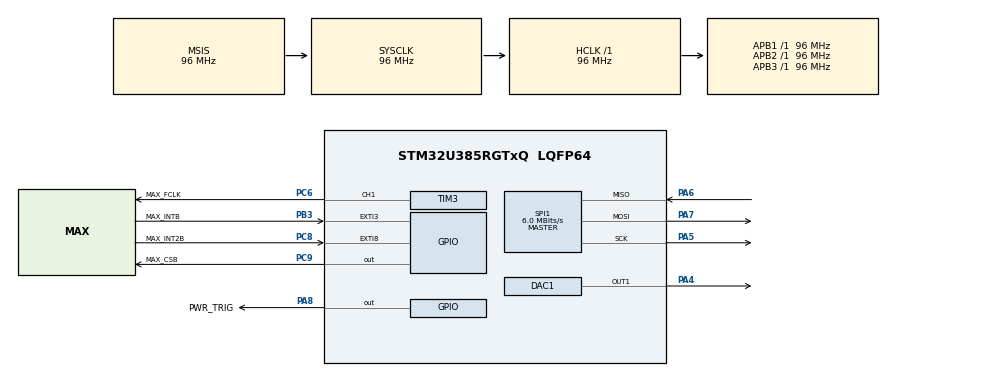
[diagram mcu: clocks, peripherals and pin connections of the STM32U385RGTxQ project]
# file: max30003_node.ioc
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CORTEX_M33_NS.userName=CORTEX_M33
DAC1.DAC_Channel-DAC_OUT1=DAC_CHANNEL_1
DAC1.DAC_OutputBuffer_OUT1-DAC_OUT1=DAC_OUTPUTBUFFER_ENABLE
Mcu.Family=STM32U3
Mcu.Name=STM32U385RGTxQ
Mcu.Package=LQFP64
NUCLEO-U385RG-Q.BUTTON=1
NUCLEO-U385RG-Q.Bsp_Common_DEMO=true
NUCLEO-U385RG-Q.LD2=false
NUCLEO-U385RG-Q.VCP=true
NVIC.EXTI13_IRQn=true\:0\:0\:false\:false\:true\:false\:true\:true
NVIC.EXTI3_IRQn=true\:2\:0\:false\:false\:true\:true\:true\:true
NVIC.EXTI8_IRQn=true\:2\:0\:false\:false\:true\:true\:true\:true
NVIC.PriorityGroup=NVIC_PRIORITYGROUP_4
NVIC.TIM6_IRQn=true\:1\:0\:true\:false\:true\:true\:true\:true
PA10.Signal=USART1_RX
PA13\ (JTMS/SWDIO).GPIO_Label=DEBUG_JTMS-SWDIO
PA13\ (JTMS/SWDIO).Signal=DEBUG_JTMS-SWDIO
PA14\ (JTCK/SWCLK).GPIO_Label=DEBUG_JTCK-SWCLK
PA14\ (JTCK/SWCLK).Signal=DEBUG_JTCK-SWCLK
PA4.Signal=COMP_DAC11_group
PA5.GPIO_Speed=GPIO_SPEED_FREQ_MEDIUM
PA5.Mode=Full_Duplex_Master
PA5.Signal=SPI1_SCK
PA6.GPIO_Speed=GPIO_SPEED_FREQ_MEDIUM
PA6.Mode=Full_Duplex_Master
PA6.Signal=SPI1_MISO
PA7.GPIO_Speed=GPIO_SPEED_FREQ_MEDIUM
PA7.Mode=Full_Duplex_Master
PA7.Signal=SPI1_MOSI
PA8.GPIO_Label=PWR_TRIG
PA8.Signal=GPIO_Output
PA9.Signal=USART1_TX
PB3\ (JTDO/TRACESWO).GPIO_Label=MAX_INTB
PB3\ (JTDO/TRACESWO).GPIO_ModeDefaultEXTI=GPIO_MODE_IT_FALLING
PB3\ (JTDO/TRACESWO).GPIO_PuPd=GPIO_PULLUP
PB3\ (JTDO/TRACESWO).Signal=GPXTI3
PC14-OSC32_IN\ (PC14).GPIO_Label=RCC_OSC32_IN
PC14-OSC32_IN\ (PC14).Signal=RCC_OSC32_IN
PC15-OSC32_OUT\ (PC15).GPIO_Label=RCC_OSC32_OUT
PC15-OSC32_OUT\ (PC15).Signal=RCC_OSC32_OUT
PC6.GPIO_Label=MAX_FCLK
PC6.Signal=S_TIM3_CH1
PC8.GPIO_Label=MAX_INT2B
PC8.GPIO_ModeDefaultEXTI=GPIO_MODE_IT_FALLING
PC8.GPIO_PuPd=GPIO_PULLUP
PC8.Signal=GPXTI8
PC9.GPIO_Label=MAX_CSB
PC9.PinState=GPIO_PIN_SET
PC9.Signal=GPIO_Output
ProjectManager.HeapSize=0x200
ProjectManager.StackSize=0x400
ProjectManager.TargetToolchain=CMake
RCC.ADCFreq_Value=96000000
RCC.AHBFreq_Value=96000000
RCC.APB1Freq_Value=96000000
RCC.APB1TimFreq_Value=96000000
RCC.APB2Freq_Value=96000000
RCC.APB2TimFreq_Value=96000000
RCC.APB3Freq_Value=96000000
RCC.CortexFreq_Value=12000000
RCC.HCLKFreq_Value=96000000
RCC.HSE_VALUE=16000000
RCC.HSI48_VALUE=48000000
RCC.HSI_VALUE=16000000
RCC.LSE_VALUE=32768
RCC.LSIDIV_VALUE=32000
RCC.MSISDIV=RCC_MSI_DIV1
RCC.SYSCLKFreq_VALUE=96000000
RCC.USBFreq_Value=48000000
RCC.USB_DIV=RCC_USB1CLKSOURCE_ICLK_DIV2
SH.COMP_DAC11_group.0=DAC1_OUT1,DAC_OUT1
SH.S_TIM3_CH1.0=TIM3_CH1,PWM Generation1 CH1
SPI1.BaudRatePrescaler=SPI_BAUDRATEPRESCALER_16
SPI1.CalculateBaudRate=6.0 MBits/s
SPI1.DataSize=SPI_DATASIZE_8BIT
SPI1.Direction=SPI_DIRECTION_2LINES
SPI1.MasterKeepIOState=SPI_MASTER_KEEP_IO_STATE_ENABLE
SPI1.Mode=SPI_MODE_MASTER
SPI1.NSSPMode=SPI_NSS_PULSE_DISABLE
SPI1.VirtualType=VM_MASTER
TIM3.Channel-PWM\ Generation1\ CH1=TIM_CHANNEL_1
TIM3.PeriodNoDither=2929
TIM3.Prescaler=0
TIM3.PulseNoDither_1=1465
TIM6.AutoReloadPreload=TIM_AUTORELOAD_PRELOAD_ENABLE
TIM6.PeriodNoDither=999
TIM6.Prescaler=95
VP_CORTEX_M33_NS_VS_Hclk.Mode=Hclk_Mode
VP_ICACHE_VS_ICACHE.Mode=DirectMappedCache
VP_MEMORYMAP_VS_MEMORYMAP.Mode=CurAppReg
VP_NUCLEO-U385RG-Q_VS_BSP_COMMON.Mode=COMMON
VP_PWR_VS_DBSignals.Mode=DisableDeadBatterySignals
VP_PWR_VS_LPOM.Mode=PowerOptimisation
VP_PWR_VS_SECSignals.Mode=Security/Privilege
VP_TIM3_VS_ClockSourceINT.Mode=Internal
VP_TIM6_VS_ClockSourceINT.Mode=Enable_Timer
board=NUCLEO-U385RG-Q

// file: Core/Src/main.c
/* USER CODE BEGIN Header */
/**
  ******************************************************************************
  * @file           : main.c
  * @brief          : Main program body
  ******************************************************************************
  * @attention
  *
  * Copyright (c) 2026 STMicroelectronics.
  * All rights reserved.
  *
  * This software is licensed under terms that can be found in the LICENSE file
  * in the root directory of this software component.
  * If no LICENSE file comes with this software, it is provided AS-IS.
  *
  ******************************************************************************
  */
/* USER CODE END Header */
#include "main.h"

/* USER CODE BEGIN Includes */
#include "ecg_acq.h"
#include "ecg_sim.h"
#include "rdetect.h"
#include "uart_tx.h"
#include "ecg_stream.h"
/* USER CODE END Includes */

/* USER CODE BEGIN PD */
#if ECG_ACQ_FS_HZ != RDETECT_FS_HZ
#error "MAX30003 sample rate (max30003_config.h) and RDETECT_FS_HZ (rdetect_config.h) differ"
#endif
#if ECG_ACQ_BLOCK_SAMPLES > RDETECT_MAX_SAMPLES
#error "ECG_ACQ_BLOCK_SECONDS is longer than rdetect accepts (RDETECT_MAX_SAMPLES)"
#endif
/* USER CODE END PD */

COM_InitTypeDef BspCOMInit;
__IO uint32_t BspButtonState = BUTTON_RELEASED;

DAC_HandleTypeDef hdac1;

SPI_HandleTypeDef hspi1;

TIM_HandleTypeDef htim3;
TIM_HandleTypeDef htim6;

/* USER CODE BEGIN PV */
static uint32_t peaks[RDETECT_MAX_PEAKS];
/* USER CODE END PV */

void SystemClock_Config(void);
static void MX_GPIO_Init(void);
static void MX_ICACHE_Init(void);
static void MX_SPI1_Init(void);
static void MX_TIM3_Init(void);
static void MX_DAC1_Init(void);
static void MX_TIM6_Init(void);
/* USER CODE BEGIN PFP */
static void pulse_trigger(void);
static int start_acquisition(void);
/* USER CODE END PFP */

/* USER CODE BEGIN 0 */

/* 5 ms pulse on D7 to start a power measurement (X-NUCLEO-LPM01A trigger). */
static void pulse_trigger(void)
{
  HAL_GPIO_WritePin(PWR_TRIG_GPIO_Port, PWR_TRIG_Pin, GPIO_PIN_SET);
  HAL_Delay(5);
  HAL_GPIO_WritePin(PWR_TRIG_GPIO_Port, PWR_TRIG_Pin, GPIO_PIN_RESET);
}

/* Configure the MAX30003 and start acquisition; prints the outcome. */
static int start_acquisition(void)
{
  int e = ecg_acq_init(&hspi1);

  switch (e)
  {
  case MAX30003_OK:
    printf("MAX30003 ready (INFO 0x%06lx)\r\n", (unsigned long)max30003_info());
    break;
  case MAX30003_ERR_PLL:
    printf("MAX30003 PLL not locked: check FCLK on D9 (PC6). Running anyway.\r\n");
    break;
  case MAX30003_ERR_ID:
    printf("MAX30003 not found (INFO 0x%06lx): check board, 3V3 and SPI wiring. Press USER to retry.\r\n",
           (unsigned long)max30003_info());
    break;
  default:
    printf("MAX30003 SPI error %d. Press USER to retry.\r\n", e);
    break;
  }
  ecg_stream_reset();
  return e;
}

/* USER CODE END 0 */

int main(void)
{

  /* USER CODE BEGIN 1 */
  int err;
  /* USER CODE END 1 */

  /* MCU Configuration--------------------------------------------------------*/

  /* Reset of all peripherals, Initializes the Flash interface and the Systick. */
  HAL_Init();

  /* Configure the system clock */
  SystemClock_Config();

  /* Initialize all configured peripherals */
  MX_GPIO_Init();
  MX_ICACHE_Init();
  MX_SPI1_Init();
  MX_TIM3_Init();
  MX_DAC1_Init();
  MX_TIM6_Init();
  /* USER CODE BEGIN 2 */
  /* FCLK for the MAX30003 must run before it is configured. */
  if (HAL_TIM_PWM_Start(&htim3, TIM_CHANNEL_1) != HAL_OK)
  {
    Error_Handler();
  }
  rdetect_init();
  /* USER CODE END 2 */

  /* Initialize USER push-button, will be used to trigger an interrupt each time it's pressed.*/
  BSP_PB_Init(BUTTON_USER, BUTTON_MODE_EXTI);

  /* Initialize COM1 port (115200, 8 bits (7-bit data + 1 stop bit), no parity */
  BspCOMInit.BaudRate   = 115200;
  BspCOMInit.WordLength = COM_WORDLENGTH_8B;
  BspCOMInit.StopBits   = COM_STOPBITS_1;
  BspCOMInit.Parity     = COM_PARITY_NONE;
  BspCOMInit.HwFlowCtl  = COM_HWCONTROL_NONE;
  if (BSP_COM_Init(COM1, &BspCOMInit) != BSP_ERROR_NONE)
  {
    Error_Handler();
  }

  /* USER CODE BEGIN BSP */
  /* From here on printf only queues bytes; USART1's interrupt sends them. */
  uart_tx_init();
  printf("\r\nmax30003_node: %u sps, %u s blocks\r\n", (unsigned)ECG_ACQ_FS_HZ, (unsigned)ECG_ACQ_BLOCK_SECONDS);
  printf("ECG stream: ecg:<uV>,hr:<bpm>,r:<0|1> per sample, %lu.%lu s behind\r\n",
         (unsigned long)(ECG_STREAM_DELAY_SAMPLES / ECG_ACQ_FS_HZ),
         (unsigned long)(ECG_STREAM_DELAY_SAMPLES % ECG_ACQ_FS_HZ * 10u / ECG_ACQ_FS_HZ));
  err = start_acquisition();
#if ECG_SIM_ENABLE
  /* Test signal on PA4 (A2 -> ASIG). Needs JP1 on ASIG and JP2 on 0V9. */
  if (ecg_sim_start(&hdac1, &htim6, ECG_SIM_BPM) == 0)
  {
    printf("ECG sim on PA4: %lu bpm, R %lu uV on %lu mV\r\n", (unsigned long)ecg_sim_bpm(),
           (unsigned long)ECG_SIM_R_UV, (unsigned long)ECG_SIM_BASELINE_MV);
  }
  else
  {
    printf("ECG sim failed to start\r\n");
  }
#endif
  pulse_trigger();
  /* USER CODE END BSP */

  /* Infinite loop */
  /* USER CODE BEGIN WHILE */
  while (1)
  {
    const int32_t *ecg;
    uint32_t first, errors;
    int n = ecg_acq_poll(&ecg, &first);

    if (n > 0)
    {
      int count = rdetect_detect(ecg, (size_t)n, peaks, RDETECT_MAX_PEAKS);
      /* Copied into the playback ring before the buffer goes back to ecg_acq.
         A failed detection still streams the ECG, without peaks. */
      ecg_stream_block(first, ecg, n, peaks, count >= 0 ? count : 0);
      ecg_acq_release();
      if (count < 0)
      {
        printf("block %lu: rdetect error %d\r\n", (unsigned long)(first / ECG_ACQ_BLOCK_SAMPLES), count);
      }
    }

    ecg_stream_pump(ecg_acq_count());

    errors = ecg_acq_take_errors();
    if (errors != 0u)
    {
      printf("ecg_acq error 0x%lx%s%s%s\r\n", (unsigned long)errors,
             (errors & ECG_ACQ_ERR_SPI)      ? " spi" : "",
             (errors & ECG_ACQ_ERR_OVERFLOW) ? " fifo-overflow" : "",
             (errors & ECG_ACQ_ERR_OVERRUN)  ? " block-overrun" : "");
    }

    if (BspButtonState == BUTTON_PRESSED)
    {
      BspButtonState = BUTTON_RELEASED;
      /* Start over at sample 0 and trigger the power monitor, as in ecg_node.
         If the MAX30003 was not found at start-up, try to configure it again. */
      if (err == MAX30003_OK || err == MAX30003_ERR_PLL)
      {
        ecg_acq_restart();
        ecg_stream_reset();
        printf("Button pressed, acquisition restarted\r\n");
#if ECG_SIM_ENABLE
        {
          /* Step the simulated heart rate so the detector is tested at several rates. */
          static const uint32_t rates[] = { 60u, 75u, 90u, 120u, 45u };
          static unsigned r = 0;
          r = (r + 1u) % (sizeof rates / sizeof rates[0]);
          (void)ecg_sim_set_bpm(rates[r]);
          printf("ECG sim: %lu bpm\r\n", (unsigned long)ecg_sim_bpm());
        }
#endif
      }
      else
      {
        err = start_acquisition();
      }
      pulse_trigger();
    }
    ecg_acq_sleep();
    /* USER CODE END WHILE */

  }
}

void SystemClock_Config(void)
{
  RCC_OscInitTypeDef RCC_OscInitStruct = {0};
  RCC_ClkInitTypeDef RCC_ClkInitStruct = {0};

  /** Configure the System Power Supply
  */
  if (HAL_PWREx_ConfigSupply(PWR_SMPS_SUPPLY) != HAL_OK)
  {
    Error_Handler();
  }

  /** Enable Epod Booster
  */
  if (HAL_RCCEx_EpodBoosterClkConfig(RCC_EPODBOOSTER_SOURCE_MSIS, RCC_EPODBOOSTER_DIV1) != HAL_OK)
  {
    Error_Handler();
  }
  if (HAL_PWREx_EnableEpodBooster() != HAL_OK)
  {
    Error_Handler();
  }

  /** Configure the main internal regulator output voltage
  */
  if (HAL_PWREx_ControlVoltageScaling(PWR_REGULATOR_VOLTAGE_SCALE1) != HAL_OK)
  {
    Error_Handler();
  }

  /** Set Flash latency before increasing MSIS
  */
  __HAL_FLASH_SET_LATENCY(FLASH_LATENCY_2);

  /** Initializes the CPU, AHB and APB buses clocks
  */
  RCC_OscInitStruct.OscillatorType = RCC_OSCILLATORTYPE_LSI|RCC_OSCILLATORTYPE_MSIS;
  RCC_OscInitStruct.LSIState = RCC_LSI_ON;
  RCC_OscInitStruct.LSIDiv = RCC_LSI_DIV1;
  RCC_OscInitStruct.MSISState = RCC_MSI_ON;
  RCC_OscInitStruct.MSISSource = RCC_MSI_RC0;
  RCC_OscInitStruct.MSISDiv = RCC_MSI_DIV1;
  if (HAL_RCC_OscConfig(&RCC_OscInitStruct) != HAL_OK)
  {
    Error_Handler();
  }

  /** Initializes the CPU, AHB and APB buses clocks
  */
  RCC_ClkInitStruct.ClockType = RCC_CLOCKTYPE_HCLK|RCC_CLOCKTYPE_SYSCLK
                              |RCC_CLOCKTYPE_PCLK1|RCC_CLOCKTYPE_PCLK2
                              |RCC_CLOCKTYPE_PCLK3;
  RCC_ClkInitStruct.SYSCLKSource = RCC_SYSCLKSOURCE_MSIS;
  RCC_ClkInitStruct.AHBCLKDivider = RCC_SYSCLK_DIV1;
  RCC_ClkInitStruct.APB1CLKDivider = RCC_HCLK_DIV1;
  RCC_ClkInitStruct.APB2CLKDivider = RCC_HCLK_DIV1;
  RCC_ClkInitStruct.APB3CLKDivider = RCC_HCLK_DIV1;

  if (HAL_RCC_ClockConfig(&RCC_ClkInitStruct, FLASH_LATENCY_2) != HAL_OK)
  {
    Error_Handler();
  }
}

static void MX_DAC1_Init(void)
{

  DAC_ChannelConfTypeDef sConfig = {0};
  DAC_AutonomousModeConfTypeDef sAutonomousMode = {0};

  /** DAC Initialization
  */
  hdac1.Instance = DAC1;
  if (HAL_DAC_Init(&hdac1) != HAL_OK)
  {
    Error_Handler();
  }

  /** DAC channel OUT1 config
  */
  sConfig.DAC_HighFrequency = DAC_HIGH_FREQUENCY_INTERFACE_MODE_DISABLE;
  sConfig.DAC_DMADoubleDataMode = DISABLE;
  sConfig.DAC_SignedFormat = DISABLE;
  sConfig.DAC_SampleAndHold = DAC_SAMPLEANDHOLD_DISABLE;
  sConfig.DAC_Trigger = DAC_TRIGGER_NONE;
  sConfig.DAC_OutputBuffer = DAC_OUTPUTBUFFER_ENABLE;
  sConfig.DAC_ConnectOnChipPeripheral = DAC_CHIPCONNECT_EXTERNAL;
  sConfig.DAC_UserTrimming = DAC_TRIMMING_FACTORY;
  if (HAL_DAC_ConfigChannel(&hdac1, &sConfig, DAC_CHANNEL_1) != HAL_OK)
  {
    Error_Handler();
  }

  /** Configure Autonomous Mode
  */
  sAutonomousMode.AutonomousModeState = DAC_AUTONOMOUS_MODE_DISABLE;
  if (HAL_DACEx_SetConfigAutonomousMode(&hdac1, &sAutonomousMode) != HAL_OK)
  {
    Error_Handler();
  }

}

static void MX_ICACHE_Init(void)
{

  /** Enable instruction cache in 1-way (direct mapped cache)
  */
  if (HAL_ICACHE_ConfigAssociativityMode(ICACHE_1WAY) != HAL_OK)
  {
    Error_Handler();
  }
  if (HAL_ICACHE_Enable() != HAL_OK)
  {
    Error_Handler();
  }

}

static void MX_SPI1_Init(void)
{

  SPI_AutonomousModeConfTypeDef HAL_SPI_AutonomousMode_Cfg_Struct = {0};

  /* USER CODE BEGIN SPI1_Init 1 */
  /* Master, mode 0, 8-bit, 96 MHz / 16 = 6 MHz (MAX30003: <= 12 MHz).
     KeepIOState holds SCLK low between HAL calls while CSB stays low. */
  /* USER CODE END SPI1_Init 1 */
  /* SPI1 parameter configuration*/
  hspi1.Instance = SPI1;
  hspi1.Init.Mode = SPI_MODE_MASTER;
  hspi1.Init.Direction = SPI_DIRECTION_2LINES;
  hspi1.Init.DataSize = SPI_DATASIZE_8BIT;
  hspi1.Init.CLKPolarity = SPI_POLARITY_LOW;
  hspi1.Init.CLKPhase = SPI_PHASE_1EDGE;
  hspi1.Init.NSS = SPI_NSS_SOFT;
  hspi1.Init.BaudRatePrescaler = SPI_BAUDRATEPRESCALER_16;
  hspi1.Init.FirstBit = SPI_FIRSTBIT_MSB;
  hspi1.Init.TIMode = SPI_TIMODE_DISABLE;
  hspi1.Init.CRCCalculation = SPI_CRCCALCULATION_DISABLE;
  hspi1.Init.CRCPolynomial = 0x7;
  hspi1.Init.NSSPMode = SPI_NSS_PULSE_DISABLE;
  hspi1.Init.NSSPolarity = SPI_NSS_POLARITY_LOW;
  hspi1.Init.FifoThreshold = SPI_FIFO_THRESHOLD_01DATA;
  hspi1.Init.MasterSSIdleness = SPI_MASTER_SS_IDLENESS_00CYCLE;
  hspi1.Init.MasterInterDataIdleness = SPI_MASTER_INTERDATA_IDLENESS_00CYCLE;
  hspi1.Init.MasterReceiverAutoSusp = SPI_MASTER_RX_AUTOSUSP_DISABLE;
  hspi1.Init.MasterKeepIOState = SPI_MASTER_KEEP_IO_STATE_ENABLE;
  hspi1.Init.IOSwap = SPI_IO_SWAP_DISABLE;
  hspi1.Init.ReadyMasterManagement = SPI_RDY_MASTER_MANAGEMENT_INTERNALLY;
  hspi1.Init.ReadyPolarity = SPI_RDY_POLARITY_HIGH;
  if (HAL_SPI_Init(&hspi1) != HAL_OK)
  {
    Error_Handler();
  }
  HAL_SPI_AutonomousMode_Cfg_Struct.TriggerState = SPI_AUTO_MODE_DISABLE;
  HAL_SPI_AutonomousMode_Cfg_Struct.TriggerSelection = SPI_GRP1_GPDMA_CH0_TCF_TRG;
  HAL_SPI_AutonomousMode_Cfg_Struct.TriggerPolarity = SPI_TRIG_POLARITY_RISING;
  if (HAL_SPIEx_SetConfigAutonomousMode(&hspi1, &HAL_SPI_AutonomousMode_Cfg_Struct) != HAL_OK)
  {
    Error_Handler();
  }

}

static void MX_TIM3_Init(void)
{

  TIM_ClockConfigTypeDef sClockSourceConfig = {0};
  TIM_MasterConfigTypeDef sMasterConfig = {0};
  TIM_OC_InitTypeDef sConfigOC = {0};

  /* USER CODE BEGIN TIM3_Init 1 */
  /* 96 MHz / (2929 + 1) = 32.7645 kHz on CH1 (PC6, D9) = MAX30003 FCLK (-107 ppm). */
  /* USER CODE END TIM3_Init 1 */
  htim3.Instance = TIM3;
  htim3.Init.Prescaler = 0;
  htim3.Init.CounterMode = TIM_COUNTERMODE_UP;
  htim3.Init.Period = 2929;
  htim3.Init.ClockDivision = TIM_CLOCKDIVISION_DIV1;
  htim3.Init.AutoReloadPreload = TIM_AUTORELOAD_PRELOAD_DISABLE;
  if (HAL_TIM_Base_Init(&htim3) != HAL_OK)
  {
    Error_Handler();
  }
  sClockSourceConfig.ClockSource = TIM_CLOCKSOURCE_INTERNAL;
  if (HAL_TIM_ConfigClockSource(&htim3, &sClockSourceConfig) != HAL_OK)
  {
    Error_Handler();
  }
  if (HAL_TIM_PWM_Init(&htim3) != HAL_OK)
  {
    Error_Handler();
  }
  sMasterConfig.MasterOutputTrigger = TIM_TRGO_RESET;
  sMasterConfig.MasterSlaveMode = TIM_MASTERSLAVEMODE_DISABLE;
  if (HAL_TIMEx_MasterConfigSynchronization(&htim3, &sMasterConfig) != HAL_OK)
  {
    Error_Handler();
  }
  sConfigOC.OCMode = TIM_OCMODE_PWM1;
  sConfigOC.Pulse = 1465;
  sConfigOC.OCPolarity = TIM_OCPOLARITY_HIGH;
  sConfigOC.OCFastMode = TIM_OCFAST_DISABLE;
  if (HAL_TIM_PWM_ConfigChannel(&htim3, &sConfigOC, TIM_CHANNEL_1) != HAL_OK)
  {
    Error_Handler();
  }
  HAL_TIM_MspPostInit(&htim3);

}

static void MX_TIM6_Init(void)
{

  TIM_MasterConfigTypeDef sMasterConfig = {0};

  htim6.Instance = TIM6;
  htim6.Init.Prescaler = 95;
  htim6.Init.CounterMode = TIM_COUNTERMODE_UP;
  htim6.Init.Period = 999;
  htim6.Init.AutoReloadPreload = TIM_AUTORELOAD_PRELOAD_ENABLE;
  if (HAL_TIM_Base_Init(&htim6) != HAL_OK)
  {
    Error_Handler();
  }
  sMasterConfig.MasterOutputTrigger = TIM_TRGO_RESET;
  sMasterConfig.MasterSlaveMode = TIM_MASTERSLAVEMODE_DISABLE;
  if (HAL_TIMEx_MasterConfigSynchronization(&htim6, &sMasterConfig) != HAL_OK)
  {
    Error_Handler();
  }

}

static void MX_GPIO_Init(void)
{
  GPIO_InitTypeDef GPIO_InitStruct = {0};

  /* GPIO Ports Clock Enable */
  __HAL_RCC_GPIOA_CLK_ENABLE();
  __HAL_RCC_GPIOC_CLK_ENABLE();
  __HAL_RCC_GPIOB_CLK_ENABLE();

  /*Configure GPIO pin Output Level */
  HAL_GPIO_WritePin(MAX_CSB_GPIO_Port, MAX_CSB_Pin, GPIO_PIN_SET);

  /*Configure GPIO pin Output Level */
  HAL_GPIO_WritePin(PWR_TRIG_GPIO_Port, PWR_TRIG_Pin, GPIO_PIN_RESET);

  /*Configure GPIO pin : MAX_INT2B_Pin */
  GPIO_InitStruct.Pin = MAX_INT2B_Pin;
  GPIO_InitStruct.Mode = GPIO_MODE_IT_FALLING;
  GPIO_InitStruct.Pull = GPIO_PULLUP;
  HAL_GPIO_Init(MAX_INT2B_GPIO_Port, &GPIO_InitStruct);

  /*Configure GPIO pin : MAX_CSB_Pin */
  GPIO_InitStruct.Pin = MAX_CSB_Pin;
  GPIO_InitStruct.Mode = GPIO_MODE_OUTPUT_PP;
  GPIO_InitStruct.Pull = GPIO_NOPULL;
  GPIO_InitStruct.Speed = GPIO_SPEED_FREQ_LOW;
  HAL_GPIO_Init(MAX_CSB_GPIO_Port, &GPIO_InitStruct);

  /*Configure GPIO pin : PWR_TRIG_Pin */
  GPIO_InitStruct.Pin = PWR_TRIG_Pin;
  GPIO_InitStruct.Mode = GPIO_MODE_OUTPUT_PP;
  GPIO_InitStruct.Pull = GPIO_NOPULL;
  GPIO_InitStruct.Speed = GPIO_SPEED_FREQ_LOW;
  HAL_GPIO_Init(PWR_TRIG_GPIO_Port, &GPIO_InitStruct);

  /*Configure GPIO pin : DEBUG_JTMS_SWDIO_Pin */
  GPIO_InitStruct.Pin = DEBUG_JTMS_SWDIO_Pin;
  GPIO_InitStruct.Mode = GPIO_MODE_AF_PP;
  GPIO_InitStruct.Pull = GPIO_PULLUP;
  GPIO_InitStruct.Speed = GPIO_SPEED_FREQ_LOW;
  GPIO_InitStruct.Alternate = GPIO_AF0_TRACE;
  HAL_GPIO_Init(DEBUG_JTMS_SWDIO_GPIO_Port, &GPIO_InitStruct);

  /*Configure GPIO pin : MAX_INTB_Pin */
  GPIO_InitStruct.Pin = MAX_INTB_Pin;
  GPIO_InitStruct.Mode = GPIO_MODE_IT_FALLING;
  GPIO_InitStruct.Pull = GPIO_PULLUP;
  HAL_GPIO_Init(MAX_INTB_GPIO_Port, &GPIO_InitStruct);

  /* EXTI interrupt init*/
  HAL_NVIC_SetPriority(EXTI3_IRQn, 2, 0);
  HAL_NVIC_EnableIRQ(EXTI3_IRQn);

  HAL_NVIC_SetPriority(EXTI8_IRQn, 2, 0);
  HAL_NVIC_EnableIRQ(EXTI8_IRQn);

}

/**
  * @brief BSP Push Button callback
  * @param Button Specifies the pressed button
  * @retval None
  */
void BSP_PB_Callback(Button_TypeDef Button)
{
  if (Button == BUTTON_USER)
  {
    BspButtonState = BUTTON_PRESSED;
  }
}

void Error_Handler(void)
{
  __disable_irq();
  while (1)
  {
  }
}
